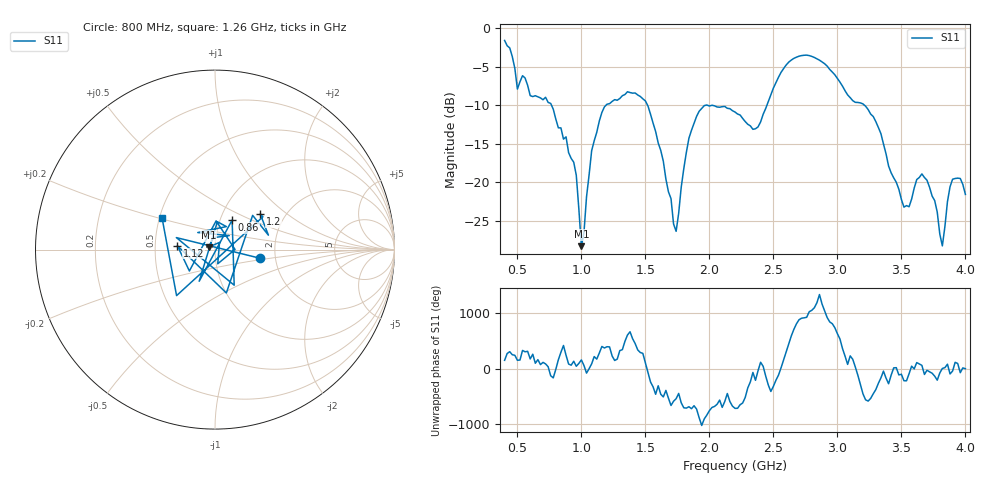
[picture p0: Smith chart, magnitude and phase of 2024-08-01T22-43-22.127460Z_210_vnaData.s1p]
!Created with skrf (http://scikit-rf.org).
# Hz S RI R 50.0
!freq ReS11 ImS11
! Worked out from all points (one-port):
!   181 points, 400 MHz to 4 GHz, reference 50 ohm
!   lowest |S11| = -28.3 dB at 1 GHz (marker M1), VSWR 1.08, Z = 46.5 + j1.27 ohm
!   |S11| at or under -10 dB: 1.517 GHz to 1.975 GHz (458.7 MHz wide, 26.3 % of centre); 1.983 GHz to 2.45 GHz (466.8 MHz wide, 21.1 % of centre); 3.211 GHz to end of sweep (the widest 3 of 4)
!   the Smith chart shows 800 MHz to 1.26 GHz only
!   S11 on the Smith chart (normalised r, x): 800 MHz: 1.66, -0.17; 860 MHz: 1.14, +0.39; 1.12 GHz: 0.65, +0.03; 1.2 GHz: 1.50, +0.66; 1.26 GHz: 0.52, +0.21
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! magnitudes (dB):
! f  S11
! 400 MHz  -1.6
! 500 MHz  -7.9
! 800 MHz  -11.8
! 860 MHz  -14.4
! 960 MHz  -19.1
! 1 GHz  -28.3
! 1.08 GHz  -15.9
! 1.12 GHz  -13.5
! 1.2 GHz  -9.9
! 1.26 GHz  -9.3
! 1.3 GHz  -9.1
! 1.5 GHz  -9.5
! 1.64 GHz  -17.3
! 1.72 GHz  -25.4
! 1.76 GHz  -24.0
! 1.84 GHz  -14.3
! 1.92 GHz  -10.8
! 2.2 GHz  -10.9
! 2.38 GHz  -12.8
! 2.66 GHz  -3.9
! 3.1 GHz  -9.0
! 3.28 GHz  -11.5
! 3.56 GHz  -23.1
! 3.66 GHz  -18.9
! 3.76 GHz  -22.4
! 3.82 GHz  -28.2
! 3.9 GHz  -19.6
! 4 GHz  -21.6
